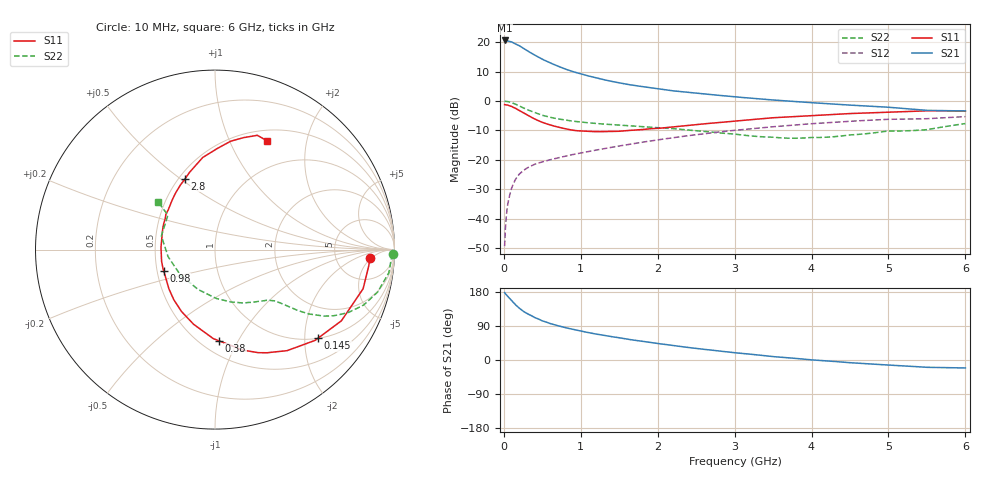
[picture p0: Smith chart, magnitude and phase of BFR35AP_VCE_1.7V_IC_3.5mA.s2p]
! Infineon Technologies  Discrete & RF Semiconductors
! BFR35AP
! VCE =  1.7 V,  IC =  3.5 mA
! Common Emitter S-Parameters:  Nov 2015
# GHz  S  MA  R  50
!  f  S11  S21  S12  S22
! GHz  MAG  ANG  MAG  ANG  MAG  ANG  MAG  ANG
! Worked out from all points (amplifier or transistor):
!   210 points, 10 MHz to 6 GHz, reference 50 ohm
!   highest |S21| = 20.6 dB at 10 MHz (marker M1)
!   |S21| within 3 dB of that: start of sweep to 274.2 MHz
!   unconditionally stable (mu >= 1): 881.9 MHz to 4.402 GHz; 5.132 GHz to end of sweep
!   at 185 MHz: K = 0.31, MSG = 22.2 dB, |S12| = -25.4 dB
!   at 1.52 GHz: K = 1.16, MAG = 8.2 dB, |S12| = -15.2 dB
!   at 6 GHz: K = 1.01, MAG = 0.4 dB, |S12| = -5.3 dB
!   S11 on the Smith chart (normalised r, x): 10 MHz: 12, -4; 145 MHz: 1.00, -2.32; 380 MHz: 0.61, -0.84; 980 MHz: 0.54, -0.14; 2.8 GHz: 0.54, +0.52; 6 GHz: 0.63, +1.39
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0.01  0.8647 -3.0  10.66 177.8  0.0034 86.4  0.9933 -1.5
0.02  0.8617 -5.9  10.51 175.0  0.0067 87.7  0.9835 -3.0
0.04  0.854 -11.8  10.47 170.4  0.0137 82.4  0.9785 -6.1
0.05  0.8536 -14.8  10.47 168.1  0.0172 81.4  0.9771 -7.6
0.1  0.8082 -29.4  10.12 156.7  0.0326 74.4  0.9367 -14.6
0.145  0.7566 -40.8  9.382 147.0  0.0448 68.0  0.8885 -19.9
0.2  0.6915 -54.5  8.689 136.9  0.0569 62.3  0.8248 -25.0
0.24  0.6439 -63.2  8.063 130.5  0.0634 59.0  0.7759 -28.0
0.3  0.582 -74.3  7.163 122.5  0.0722 55.7  0.7133 -31.3
0.38  0.5093 -87.3  6.23 114.6  0.0814 52.5  0.649 -33.8
0.5  0.4332 -105.9  5.106 103.3  0.0921 50.0  0.5695 -36.4
0.6  0.3923 -118.4  4.438 96.4  0.0999 49.4  0.5265 -37.5
0.8  0.337 -139.7  3.473 85.3  0.115 49.0  0.4724 -39.2
0.98  0.3097 -157.4  2.931 77.1  0.1287 49.7  0.4408 -40.5
1.02  0.3075 -161.1  2.834 75.5  0.1317 49.9  0.4352 -41.0
1.4  0.302 170.7  2.147 61.6  0.1628 50.4  0.3968 -45.9
2.02  0.3434 138.9  1.596 43.1  0.2196 48.6  0.3492 -57.4
2.8  0.429 112.8  1.245 23.7  0.297 42.5  0.2865 -80.0
3.1  0.4657 105.7  1.145 17.4  0.3256 39.1  0.2632 -92.5
4.1  0.5711 87.4  0.916 -1.0  0.418 27.0  0.2392 -149.1
5.1  0.6502 74.4  0.762 -14.5  0.4885 13.1  0.308 161.2
6  0.672 64.6  0.675 -21.0  0.541 2.9  0.4125 140.1
